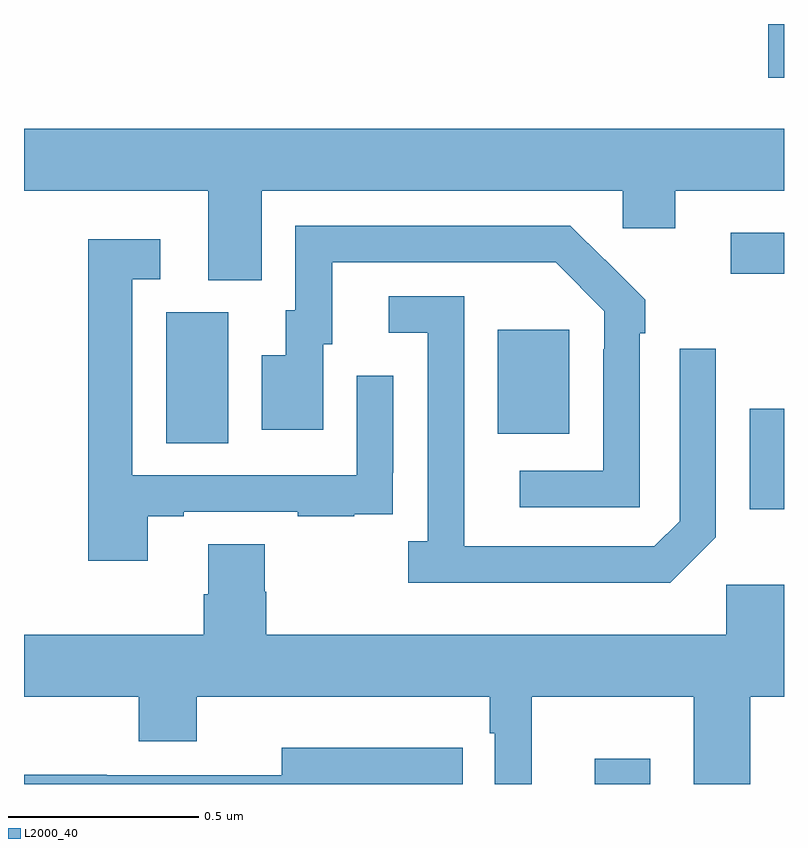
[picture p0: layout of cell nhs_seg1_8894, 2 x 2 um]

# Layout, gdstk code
import gdstk
lib = gdstk.Library(unit=1e-6, precision=1e-09)
def R(c, l, rs):  # rectangles x0, y0, x1, y1
    for r in rs: c.add(gdstk.rectangle(r[:2], r[2:], *l))
def P(c, l, *ps):  # polygons
    for p in ps: c.add(gdstk.Polygon(p, *l))
L2000_40 = (2000, 40)

nhs_seg1_8894 = lib.new_cell('nhs_seg1_8894')
R(nhs_seg1_8894, L2000_40, [(223.502,522.199,223.648,522.265), (223.91,522.922,224,523.186), (222.374,523.096,222.538,523.44), (223.247,523.121,223.435,523.395), (223.86,523.542,224,523.65), (223.958,524.057,224,524.199)])
P(nhs_seg1_8894, L2000_40, [(222.625,523.76),(223.575,523.76),(223.575,523.662),(223.714,523.662),(223.714,523.76),(224,523.76),(224,523.924),(222,523.924),(222,523.76),(222.485,523.76),(222.485,523.525),(222.625,523.525)],
  [(223.62,523.385),(223.635,523.385),(223.635,523.473),(223.53,523.578),(223.529,523.577),(223.438,523.668),(222.714,523.668),(222.714,523.446),(222.689,523.446),(222.689,523.327),(222.626,523.327),(222.626,523.131),(222.787,523.131),(222.787,523.356),(222.811,523.356),(222.811,523.572),(223.399,523.572),(223.527,523.443),(223.527,523.343),(223.524,523.343),(223.524,523.023),(223.305,523.023),(223.305,522.927),(223.62,522.927)],
  [(222.325,522.903),(222.421,522.903),(222.421,522.915),(222.721,522.915),(222.721,522.903),(222.869,522.903),(222.869,522.909),(222.971,522.909),(222.971,523.018),(222.972,523.018),(222.972,523.273),(222.876,523.273),(222.876,523.011),(222.285,523.011),(222.285,523.527),(222.358,523.527),(222.358,523.633),(222.169,523.633),(222.169,522.786),(222.325,522.786)],
  [(223.821,522.849),(223.821,523.345),(223.725,523.345),(223.725,522.891),(223.659,522.825),(223.159,522.825),(223.159,523.025),(223.158,523.025),(223.158,523.482),(222.96,523.482),(222.96,523.386),(223.062,523.386),(223.062,522.838),(223.011,522.838),(223.011,522.728),(223.7,522.728)],
  [(222,522.428),(222.302,522.428),(222.302,522.311),(222.454,522.311),(222.454,522.428),(223.226,522.428),(223.226,522.332),(223.239,522.332),(223.239,522.199),(223.336,522.199),(223.336,522.428),(223.763,522.428),(223.763,522.199),(223.911,522.199),(223.911,522.428),(224,522.428),(224,522.724),(223.848,522.724),(223.848,522.592),(222.638,522.592),(222.638,522.705),(222.633,522.705),(222.633,522.83),(222.485,522.83),(222.485,522.698),(222.473,522.698),(222.473,522.592),(222,522.592)],
  [(223.154,522.294),(223.046,522.294),(223.046,522.295),(222.678,522.295),(222.678,522.222),(222.218,522.222),(222.218,522.224),(222,522.224),(222,522.199),(223.154,522.199)])

lib.write_gds('nhs_seg1_8894.gds')
